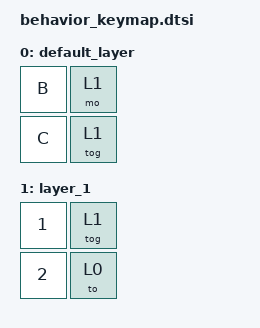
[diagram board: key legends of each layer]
#include <dt-bindings/zmk/keys.h>
#include <behaviors.dtsi>
#include <dt-bindings/zmk/kscan_mock.h>

/*
 * Layer 1 is held by &mo at (0,1). Inside layer 1 that same position is &tog 1, which is
 * the intended way out of a locked layer. (1,1) is &tog 1 on the base layer and &to 0
 * inside layer 1. enter/exit are &kp F13 / F14 so the lock edges show in the key log.
 */
/ {
    layer_idle_lock {
        compatible = "zmk,layer-idle-lock";

        lock_1 {
            layer = <1>;
            idle-ms = <500>;
            enter = <&kp F13>;
            exit = <&kp F14>;
        };
    };

    keymap {
        compatible = "zmk,keymap";

        default_layer {
            bindings = <
                &kp B  &mo 1
                &kp C  &tog 1>;
        };

        layer_1 {
            bindings = <
                &kp N1  &tog 1
                &kp N2  &to 0>;
        };
    };
};
